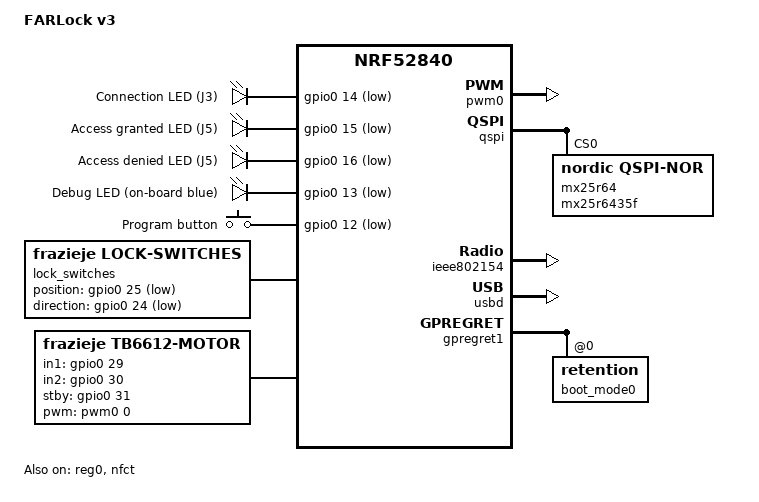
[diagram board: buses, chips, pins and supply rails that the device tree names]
/*
 * FARLock v3 board (hardware revision v02)
 * https://github.com/frazieje/farlock3-hw
 *
 * nRF52840 (Raytac MDBT50Q-U1M), TB6612FNG h-bridge, MX25R6435F QSPI flash,
 * USB micro-B (power + CDC ACM console). No UART pins are broken out.
 *
 * SPDX-License-Identifier: Apache-2.0
 */

/dts-v1/;
#include <nordic/nrf52840_qiaa.dtsi>
#include <nordic/nrf52840_partition.dtsi>
#include "farlock3-pinctrl.dtsi"
#include <zephyr/dt-bindings/input/input-event-codes.h>
#include <zephyr/dt-bindings/pwm/pwm.h>

/ {
	model = "FARLock v3";
	compatible = "frazieje,farlock3";

	chosen {
		zephyr,console = &cdc_acm_uart0;
		zephyr,shell-uart = &cdc_acm_uart0;
		zephyr,uart-mcumgr = &cdc_acm_uart0;
		zephyr,ieee802154 = &ieee802154;
		zephyr,boot-mode = &boot_mode0;
		nordic,pm-ext-flash = &mx25r64;
		zephyr,entropy = &rng;
	};

	/*
	 * LED order matters: the NCS Matter board layer uses the first LED as
	 * the connectivity status LED and the second as the application LED.
	 * All LEDs are sunk by the GPIO through a series resistor to 3V3.
	 */
	leds {
		compatible = "gpio-leds";
		led0: led_0 {
			gpios = <&gpio0 14 GPIO_ACTIVE_LOW>;
			label = "Connection LED (J3)";
		};
		led1: led_1 {
			gpios = <&gpio0 15 GPIO_ACTIVE_LOW>;
			label = "Access granted LED (J5)";
		};
		led2: led_2 {
			gpios = <&gpio0 16 GPIO_ACTIVE_LOW>;
			label = "Access denied LED (J5)";
		};
		led3: led_3 {
			gpios = <&gpio0 13 GPIO_ACTIVE_LOW>;
			label = "Debug LED (on-board blue)";
		};
	};

	/*
	 * Only the momentary program button lives here. The bolt position and
	 * direction switches are deliberately NOT in this node: the dk_buttons
	 * library polls every 10 ms for as long as any "button" is held, and a
	 * position switch sits closed for half of its life.
	 */
	buttons {
		compatible = "gpio-keys";
		button0: button_0 {
			/* 10 k external pull-up (R5), also on J6 pin 3 */
			gpios = <&gpio0 12 GPIO_ACTIVE_LOW>;
			label = "Program button";
			zephyr,code = <INPUT_KEY_0>;
		};
	};

	lock_switches: lock-switches {
		compatible = "frazieje,lock-switches";
		/* Bolt position switch, J5 pin 2, 10 k external pull-up (R4) */
		position-gpios = <&gpio0 25 GPIO_ACTIVE_LOW>;
		/* On-board SPDT handedness switch SW1, 10 k external pull-up (R7) */
		direction-gpios = <&gpio0 24 GPIO_ACTIVE_LOW>;
	};

	motor: motor {
		compatible = "frazieje,tb6612-motor";
		pwms = <&pwm0 0 PWM_MSEC(20) PWM_POLARITY_NORMAL>;
		in1-gpios = <&gpio0 29 GPIO_ACTIVE_HIGH>;
		in2-gpios = <&gpio0 30 GPIO_ACTIVE_HIGH>;
		stby-gpios = <&gpio0 31 GPIO_ACTIVE_HIGH>;
	};

	aliases {
		led0 = &led0;
		led1 = &led1;
		led2 = &led2;
		led3 = &led3;
		sw0 = &button0;
		pwm-motor = &motor;
		watchdog0 = &wdt0;
	};
};

&reg0 {
	status = "okay";
};

&reg1 {
	regulator-initial-mode = <NRF5X_REG_MODE_DCDC>;
};

&uicr {
	/* P0.18 is wired to the RESET pin of the SWD header J2 */
	gpio-as-nreset;
};

&gpiote {
	status = "okay";
};

&nfct {
	status = "okay";
};

&gpio0 {
	status = "okay";
	/* XL1/XL2, NFC1/NFC2, QSPI + RESET */
	gpio-reserved-ranges = <0 2>, <9 2>, <17 7>;
	gpio-line-names = "XL1", "XL2", "", "", "", "", "", "",
			  "", "NFC1", "NFC2", "", "BTN_PRG", "LED_DBG",
			  "LED_CXN", "LED_ACCG", "LED_ACCD", "QSPI_CS", "RESET", "QSPI_CLK",
			  "QSPI_IO0", "QSPI_IO1", "QSPI_IO2", "QSPI_IO3", "SW_DIR",
			  "SW_POS", "", "", "MOTOR_PWM", "MOTOR_IN1", "MOTOR_IN2", "MOTOR_STBY";
};

&gpio1 {
	status = "okay";
};

&pwm0 {
	status = "okay";
	pinctrl-0 = <&pwm0_default>;
	pinctrl-1 = <&pwm0_sleep>;
	pinctrl-names = "default", "sleep";
};

&qspi {
	status = "okay";
	pinctrl-0 = <&qspi_default>;
	pinctrl-1 = <&qspi_sleep>;
	pinctrl-names = "default", "sleep";

	mx25r64: mx25r6435f@0 {
		compatible = "nordic,qspi-nor";
		reg = <0>;
		/* MX25R64 supports only pp and pp4io */
		writeoc = "pp4io";
		/* MX25R64 supports all readoc options */
		readoc = "read4io";
		sck-frequency = <8000000>;
		jedec-id = [c2 28 17];
		sfdp-bfp = [
			e5 20 f1 ff  ff ff ff 03  44 eb 08 6b  08 3b 04 bb
			ee ff ff ff  ff ff 00 ff  ff ff 00 ff  0c 20 0f 52
			10 d8 00 ff  23 72 f5 00  82 ed 04 cc  44 83 68 44
			30 b0 30 b0  f7 c4 d5 5c  00 be 29 ff  f0 d0 ff ff
		];
		size = <67108864>;
		has-dpd;
		t-enter-dpd = <10000>;
		t-exit-dpd = <35000>;
	};
};

&ieee802154 {
	status = "okay";
};

zephyr_udc0: &usbd {
	compatible = "nordic,nrf-usbd";
	status = "okay";

	cdc_acm_uart0: cdc_acm_uart0 {
		compatible = "zephyr,cdc-acm-uart";
	};
};

&gpregret1 {
	status = "okay";

	boot_mode0: boot_mode@0 {
		compatible = "zephyr,retention";
		status = "okay";
		reg = <0x0 0x1>;
	};
};

/*
 * Everything below is unused on this board. The SoC dtsi already leaves these
 * disabled, but we state it explicitly so overlays cannot enable them by
 * accident (no pins are routed for them).
 */
&adc {
	status = "disabled";
};
&uart0 {
	status = "disabled";
};
&uart1 {
	status = "disabled";
};
&i2c0 {
	status = "disabled";
};
&i2c1 {
	status = "disabled";
};
&spi0 {
	status = "disabled";
};
&spi1 {
	status = "disabled";
};
&spi2 {
	status = "disabled";
};
&spi3 {
	status = "disabled";
};
